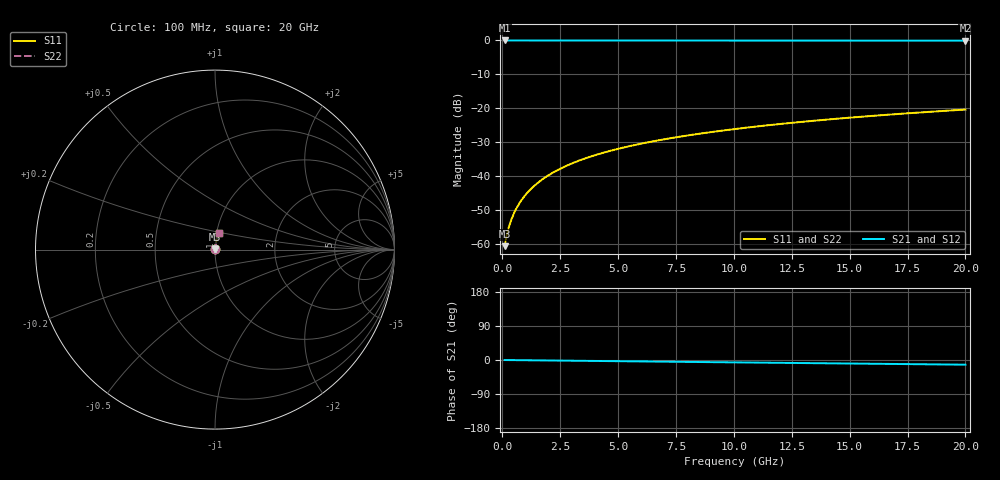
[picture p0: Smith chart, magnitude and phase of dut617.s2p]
! Touchstone file exported from HFSS 2026.1.0
!  File:  C:/ffzhzh/LocalFiles/Ansys_Project_Files/temp_train_BSMRDL_617_1783016336_55676.aedt
!  Generated:  02:20:21 AM Jul  3, 2026
!  Design:  BSMRDL
!  Project:  temp_train_BSMRDL_617_1783016336_55676
! Variables:
!  h_bsmrdl = 4.17um
!  h_ox = 20um
!  h_rdl = 5um
!  h_sub = 80um
!  h_tmrdl = 5um
!  h_tsv = 80um
!  h_via = 3um
!  l_bsmrdl = 164.79um
!  l_sub = 564.79um
!  l_tmrdl = 200um
!  m_sub = 200um
!  pitch = 45.91um
!  r_tsv = 6um
!  s_tmrdl = 10um
!  w_bsmrdl = 28.08um
!  w_sub = 500um
!  w_tmrdl = 12um
!  x_tsv_center1 = 206um
!  x_tsv_center2 = 398.87um
!  x_tsv_center3 = 610.87um
!  x_tsv_center4 = 803.74um
!  x_tsv_center5 = 1015.74um
!  x_tsv_center6 = 1208.61um
# GHz S MA R 50.000000
! Terminal data exported
! Port[1] = BSM_RDL1_1_T1
! Port[2] = BSM_RDL1_1_T2
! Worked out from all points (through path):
!   200 points, 100 MHz to 20 GHz, reference 50 ohm
!   highest |S21| = -0.01 dB at 100 MHz (marker M1); lowest = -0.1 dB at 20 GHz (marker M2)
!   group delay of S21, straight-line fit = 1.71 ps
!   lowest |S11| = -60.6 dB at 100 MHz (marker M3), VSWR 1.00, Z = 50.1 + j0.0596 ohm
!   |S11| at or under -10 dB: start of sweep to end of sweep
!   |S22| runs from -60.6 to -20.4 dB; largest |S21 - S12| = 5.1e-15
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0.1  0.0009327 39.7  0.9993 -0.1  0.9993 -0.1  0.0009327 39.7
! Gamma 0 0 0 0
! Port Impedance 50 0 50 0
0.2  0.001385 55.8  0.9992 -0.1  0.9992 -0.1  0.001385 55.8
0.3  0.001859 63.4  0.9992 -0.2  0.9992 -0.2  0.001859 63.4
0.4  0.002336 68.1  0.9991 -0.3  0.9991 -0.3  0.002336 68.1
0.5  0.002819 71.4  0.9991 -0.3  0.9991 -0.3  0.002819 71.4
0.6  0.003306 73.8  0.9991 -0.4  0.9991 -0.4  0.003306 73.8
0.8  0.004296 77.0  0.9991 -0.5  0.9991 -0.5  0.004296 77.0
1.1  0.005801 79.7  0.999 -0.7  0.999 -0.7  0.005801 79.7
1.3  0.006811 80.8  0.999 -0.8  0.999 -0.8  0.006811 80.8
1.6  0.008331 81.9  0.9989 -1.0  0.9989 -1.0  0.008331 81.9
2.1  0.01086 82.8  0.9988 -1.3  0.9988 -1.3  0.01086 82.8
2.7  0.01389 83.3  0.9987 -1.7  0.9987 -1.7  0.01389 83.3
3.5  0.0179 83.4  0.9985 -2.2  0.9985 -2.2  0.0179 83.4
4.2  0.02138 83.2  0.9982 -2.7  0.9982 -2.7  0.02138 83.2
5  0.02532 83.0  0.998 -3.2  0.998 -3.2  0.02532 83.0
5.9  0.02971 82.6  0.9977 -3.7  0.9977 -3.7  0.02971 82.6
6.8  0.03407 82.2  0.9973 -4.3  0.9973 -4.3  0.03407 82.2
8.3  0.04127 81.5  0.9968 -5.2  0.9968 -5.2  0.04127 81.5
10.1  0.04984 80.6  0.9961 -6.3  0.9961 -6.3  0.04984 80.6
13.4  0.06539 79.0  0.9948 -8.3  0.9948 -8.3  0.06539 79.0
16.7  0.08076 77.2  0.9933 -10.3  0.9933 -10.3  0.08076 77.2
20  0.09594 75.4  0.9916 -12.4  0.9916 -12.4  0.09594 75.4
